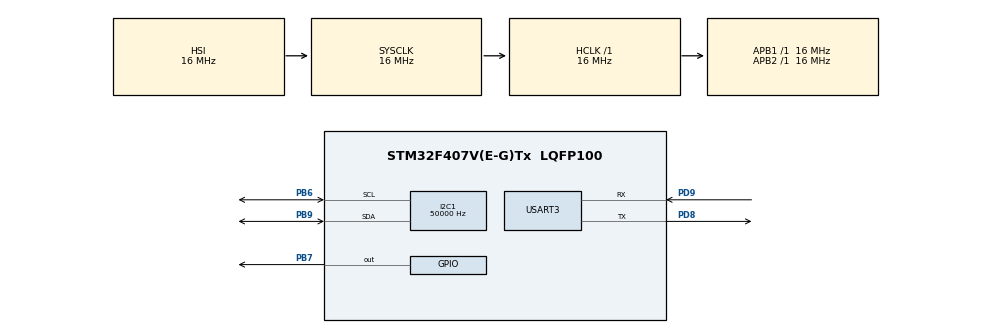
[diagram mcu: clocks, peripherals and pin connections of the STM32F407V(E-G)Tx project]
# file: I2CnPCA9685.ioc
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I2C1.ClockSpeed=50000
Mcu.Family=STM32F4
Mcu.Name=STM32F407V(E-G)Tx
Mcu.Package=LQFP100
NVIC.PriorityGroup=NVIC_PRIORITYGROUP_4
PA13.Mode=Trace_Asynchronous_SW
PA13.Signal=SYS_JTMS-SWDIO
PA14.Mode=Trace_Asynchronous_SW
PA14.Signal=SYS_JTCK-SWCLK
PB3.Mode=Trace_Asynchronous_SW
PB3.Signal=SYS_JTDO-SWO
PB6.Mode=I2C
PB6.Signal=I2C1_SCL
PB7.Signal=GPIO_Output
PB9.Mode=I2C
PB9.Signal=I2C1_SDA
PD8.Mode=Asynchronous
PD8.Signal=USART3_TX
PD9.Mode=Asynchronous
PD9.Signal=USART3_RX
ProjectManager.HeapSize=0x200
ProjectManager.StackSize=0x400
ProjectManager.TargetToolchain=STM32CubeIDE
RCC.AHBFreq_Value=16000000
RCC.APB1Freq_Value=16000000
RCC.APB2Freq_Value=16000000
RCC.CortexFreq_Value=16000000
RCC.HSE_VALUE=25000000
RCC.HSI_VALUE=16000000
RCC.LSE_VALUE=32768
RCC.SYSCLKFreq_VALUE=16000000
RCC.VCOOutputFreq_Value=192000000
USART3.VirtualMode=VM_ASYNC
board=custom

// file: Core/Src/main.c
/* USER CODE BEGIN Header */
/*
 * -----------------------------------------------------------------------------
 * I2C.PCA9685
 * 16 channels output.
 * The LEDs are controlled from a computer via UART.
 * Use UartController16 to control LEDs, frequency and duty cycle.
 * -----------------------------------------------------------------------------
 */
/**
  ******************************************************************************
  * @file           : main.c
  * @brief          : Main program body
  ******************************************************************************
  * @attention
  *
  * <h2><center>&copy; Copyright (c) 2021 STMicroelectronics.
  * All rights reserved.</center></h2>
  *
  * This software component is licensed by ST under BSD 3-Clause license,
  * the "License"; You may not use this file except in compliance with the
  * License. You may obtain a copy of the License at:
  *                        opensource.org/licenses/BSD-3-Clause
  *
  ******************************************************************************
  */
/* USER CODE END Header */
#include "main.h"

/* USER CODE BEGIN Includes */
#include <stdio.h>
#include <string.h>
#include <ctype.h>
#include "PCA9685lib.h"

/* USER CODE END Includes */

I2C_HandleTypeDef hi2c1;

UART_HandleTypeDef huart3;

/* USER CODE BEGIN PV */
int ledCount = 16;
// All possible commands for LED control
uint8_t ledCMD[] =
{
	's',
	'e',
	'd',
	'r',
	'f',
	't',
	'g',
	'y',
	'h',
	'u',
	'j',
	'i',
	'k',
	'o',
	'l',
	'p'
};
// A flag indicating whether the same PWM has been set for all LEDs
_Bool allDutyFlag = 0;
_Bool sleepFlag = 0;
_Bool allLedOffFlag = 0;

uint32_t sendTimer = 0;
/* USER CODE END PV */

void SystemClock_Config(void);
static void MX_GPIO_Init(void);
static void MX_I2C1_Init(void);
static void MX_USART3_UART_Init(void);
/* USER CODE BEGIN PFP */
void sendState();
float myRound(float inp);
/* USER CODE END PFP */

/* USER CODE BEGIN 0 */
// For Serial Debug
/*
int _write(int file, char *ptr, int len)
{
	int i;
	for (i = 0; i < len; i++)
		ITM_SendChar(*ptr++);
	return len;
}
*/
/* USER CODE END 0 */

int main(void)
{

  /* MCU Configuration--------------------------------------------------------*/

  /* Reset of all peripherals, Initializes the Flash interface and the Systick. */
  HAL_Init();

  /* Configure the system clock */
  SystemClock_Config();

  /* Initialize all configured peripherals */
  MX_GPIO_Init();
  MX_I2C1_Init();
  MX_USART3_UART_Init();
  /* USER CODE BEGIN 2 */
  initPCA(&hi2c1, 0x80);
  setAllLedOff();
  setPWMFrequency(500);
  sendState();
  /* USER CODE END 2 */

  /* Infinite loop */
  /* USER CODE BEGIN WHILE */

  while (1)
  {
	  // UART poll
	  uint8_t rcvBuf[1];
	  HAL_StatusTypeDef result;
	  result = HAL_UART_Receive(&huart3, rcvBuf, 1, 10);

	  if (result == HAL_OK)
	  {
		  // If uppercase character
		  if (isupper(rcvBuf[0]))
		  {
			  for (int i = 0; i < ledCount; i++)
			  {
				  if (toupper(ledCMD[i]) == rcvBuf[0])
				  {
					  // Get the PWM value from the desired channel
					  // and subtract 25% from it
					  int val = getPWM(i+1);
					  val = val - (4096/4);
					  if (val < 0)
						  val = 0;
					  if (val == 0)
						  setLedPWM(i+1, val);
					  else
						  setLedPWM(i+1, (val-1));
					  allDutyFlag = 0;
				  	  break;
				  }
			  }
		  }
		  else
		  {
			  if (rcvBuf[0] == '&')
			  {
				  // Accept, convert to an integer value and set the frequency
		  		  char freqBuf[6];
		  		  HAL_UART_Receive(&huart3, freqBuf, 6, 50);
			  	  setPWMFrequency(atoi(freqBuf));
			  	  // clear buff
			  	  for (int i = 0; i < sizeof(freqBuf)/sizeof(freqBuf[0]); i++)
			  		  freqBuf[i] = 0;
			  }
			  if (rcvBuf[0] == '$')
			  {
				  // Accept, convert to an integer value and set the duty cycle
			  	  char pwmBuf[6];
			  	  HAL_UART_Receive(&huart3, pwmBuf, 6, 50);
			  	  setAllLedPWM(atoi(pwmBuf));
			  	  allDutyFlag = 1;
			  	  // clear buff
			  	  for (int i = 0; i < sizeof(pwmBuf)/sizeof(pwmBuf[0]); i++)
			  		  pwmBuf[i] = 0;
			  }
			  if (rcvBuf[0] == '*')
			  {
			  	  sleepPCA();
			  	  sleepFlag = 1;
			  }
			  if (rcvBuf[0] == '+')
			  {
			  	  wakeupPCA();
			  	  sleepFlag = 0;
		  	  }
			  if (rcvBuf[0] == '5')
			  {
				  allLedOffFlag = !allLedOffFlag;
				  if (allLedOffFlag)
					  setAllLedOff();
				  else
					  setAllLedOn();
			  }
			  if (rcvBuf[0] == '0')
				  resetDevice();

			  for (int i = 0; i < ledCount; i++)
			  {

				  if (ledCMD[i] == rcvBuf[0])
				  {
					  // Get the PWM value from the desired channel
					  // and add 25% to it
					  int val = getPWM(i+1);
				  	  val = val + (4096/4);
				  	  if (val > 4096)
				  		  val = 4096;
				  	  setLedPWM(i+1, (val-1));
				  	  allDutyFlag = 0;
			  		  break;
				  }
			  }
		  }
		  // Anti-rattle protection
		  if((HAL_GetTick() - sendTimer) > 300)
		  {
			  sendState();
			  sendTimer = HAL_GetTick();
		  }
		  // clear buff
	  	  rcvBuf[0] = 0;
	  }
    /* USER CODE END WHILE */

  }
}

void SystemClock_Config(void)
{
  RCC_OscInitTypeDef RCC_OscInitStruct = {0};
  RCC_ClkInitTypeDef RCC_ClkInitStruct = {0};

  /** Configure the main internal regulator output voltage
  */
  __HAL_RCC_PWR_CLK_ENABLE();
  __HAL_PWR_VOLTAGESCALING_CONFIG(PWR_REGULATOR_VOLTAGE_SCALE1);
  /** Initializes the RCC Oscillators according to the specified parameters
  * in the RCC_OscInitTypeDef structure.
  */
  RCC_OscInitStruct.OscillatorType = RCC_OSCILLATORTYPE_HSI;
  RCC_OscInitStruct.HSIState = RCC_HSI_ON;
  RCC_OscInitStruct.HSICalibrationValue = RCC_HSICALIBRATION_DEFAULT;
  RCC_OscInitStruct.PLL.PLLState = RCC_PLL_NONE;
  if (HAL_RCC_OscConfig(&RCC_OscInitStruct) != HAL_OK)
  {
    Error_Handler();
  }
  /** Initializes the CPU, AHB and APB buses clocks
  */
  RCC_ClkInitStruct.ClockType = RCC_CLOCKTYPE_HCLK|RCC_CLOCKTYPE_SYSCLK
                              |RCC_CLOCKTYPE_PCLK1|RCC_CLOCKTYPE_PCLK2;
  RCC_ClkInitStruct.SYSCLKSource = RCC_SYSCLKSOURCE_HSI;
  RCC_ClkInitStruct.AHBCLKDivider = RCC_SYSCLK_DIV1;
  RCC_ClkInitStruct.APB1CLKDivider = RCC_HCLK_DIV1;
  RCC_ClkInitStruct.APB2CLKDivider = RCC_HCLK_DIV1;

  if (HAL_RCC_ClockConfig(&RCC_ClkInitStruct, FLASH_LATENCY_0) != HAL_OK)
  {
    Error_Handler();
  }
}

static void MX_I2C1_Init(void)
{

  hi2c1.Instance = I2C1;
  hi2c1.Init.ClockSpeed = 100000;
  hi2c1.Init.DutyCycle = I2C_DUTYCYCLE_2;
  hi2c1.Init.OwnAddress1 = 0;
  hi2c1.Init.AddressingMode = I2C_ADDRESSINGMODE_7BIT;
  hi2c1.Init.DualAddressMode = I2C_DUALADDRESS_DISABLE;
  hi2c1.Init.OwnAddress2 = 0;
  hi2c1.Init.GeneralCallMode = I2C_GENERALCALL_DISABLE;
  hi2c1.Init.NoStretchMode = I2C_NOSTRETCH_DISABLE;
  if (HAL_I2C_Init(&hi2c1) != HAL_OK)
  {
    Error_Handler();
  }

}

static void MX_USART3_UART_Init(void)
{

  huart3.Instance = USART3;
  huart3.Init.BaudRate = 115200;
  huart3.Init.WordLength = UART_WORDLENGTH_8B;
  huart3.Init.StopBits = UART_STOPBITS_1;
  huart3.Init.Parity = UART_PARITY_NONE;
  huart3.Init.Mode = UART_MODE_TX_RX;
  huart3.Init.HwFlowCtl = UART_HWCONTROL_NONE;
  huart3.Init.OverSampling = UART_OVERSAMPLING_16;
  if (HAL_UART_Init(&huart3) != HAL_OK)
  {
    Error_Handler();
  }

}

static void MX_GPIO_Init(void)
{
  GPIO_InitTypeDef GPIO_InitStruct = {0};

  /* GPIO Ports Clock Enable */
  __HAL_RCC_GPIOD_CLK_ENABLE();
  __HAL_RCC_GPIOA_CLK_ENABLE();
  __HAL_RCC_GPIOB_CLK_ENABLE();

  /*Configure GPIO pin Output Level */
  HAL_GPIO_WritePin(GPIOB, GPIO_PIN_7, GPIO_PIN_RESET);

  /*Configure GPIO pin : PB7 */
  GPIO_InitStruct.Pin = GPIO_PIN_7;
  GPIO_InitStruct.Mode = GPIO_MODE_OUTPUT_PP;
  GPIO_InitStruct.Pull = GPIO_NOPULL;
  GPIO_InitStruct.Speed = GPIO_SPEED_FREQ_LOW;
  HAL_GPIO_Init(GPIOB, &GPIO_InitStruct);

}

/* USER CODE BEGIN 4 */

void sendState()
{
	char str[76];
	str[0] = 0;
	int freq;
	int dutyCycle;;
	int sleepMode;

	freq = getPWMFrequency();
	if (allDutyFlag)
		dutyCycle = getPWM(1);
	else
		// show that dutyCycle is not equal for all channels
		dutyCycle = 9999;
	sleepMode = sleepFlag;
	// Get the PWM value
	uint16_t ledPWM[16];
	for (int i = 0; i < sizeof(ledPWM) / sizeof(ledPWM[0]); i++)
		ledPWM[i] = getPWM(i+1);
	// Form a string
	for(int i = 0; i < sizeof(ledPWM) / sizeof(ledPWM[0]); ++i)
	{
			  sprintf(str + strlen(str), "%04d", ledPWM[i]);
	}

	sprintf(str + strlen(str), "%04d%04d%04d",freq,dutyCycle,sleepMode);
	printf("%i\n", strlen(str));
	// Send by UART
	HAL_UART_Transmit(&huart3, (uint8_t *)&str, sizeof(str), 10);

}

/* USER CODE END 4 */

void Error_Handler(void)
{
  __disable_irq();
  while (1)
  {
  }
}

/************************ (C) COPYRIGHT STMicroelectronics *****END OF FILE****/
